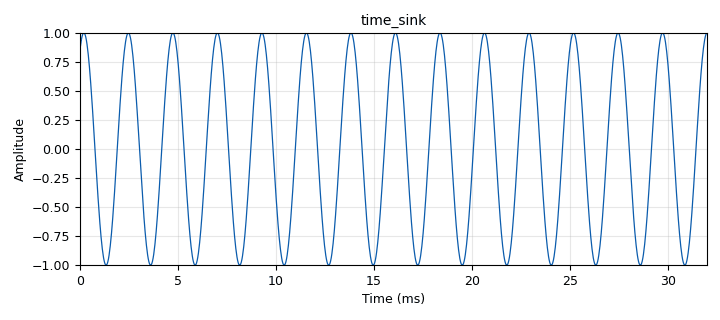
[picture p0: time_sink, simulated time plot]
<?xml version='1.0' encoding='utf-8'?>
<?grc format='1' created='3.7.11'?>
<flow_graph>
<block>
<key>options</key>
<param><key>id</key><value>synth</value></param>
<param><key>author</key><value>Robert Warner</value></param>
<param><key>description</key><value>Synth Project for Music Technology </value></param>
<param><key>generate_options</key><value>qt_gui</value></param>
</block>
<block>
<key>variable_qtgui_push_button</key>
<param><key>id</key><value>a_button</value></param>
<param><key>value</key><value>0</value></param>
<param><key>label</key><value>A</value></param>
<param><key>pressed</key><value>440.0000</value></param>
<param><key>released</key><value>0</value></param>
<param><key>type</key><value>real</value></param>
</block>
<block>
<key>variable_qtgui_push_button</key>
<param><key>id</key><value>b_button</value></param>
<param><key>value</key><value>0</value></param>
<param><key>label</key><value>B</value></param>
<param><key>pressed</key><value>493.8833</value></param>
<param><key>released</key><value>0</value></param>
<param><key>type</key><value>real</value></param>
</block>
<block>
<key>variable_qtgui_push_button</key>
<param><key>id</key><value>c1_button</value></param>
<param><key>value</key><value>0</value></param>
<param><key>label</key><value>C'</value></param>
<param><key>pressed</key><value>523.2511</value></param>
<param><key>released</key><value>0</value></param>
<param><key>type</key><value>real</value></param>
</block>
<block>
<key>variable_qtgui_push_button</key>
<param><key>id</key><value>c_button</value></param>
<param><key>value</key><value>0</value></param>
<param><key>label</key><value>C</value></param>
<param><key>pressed</key><value>261.6256</value></param>
<param><key>released</key><value>0</value></param>
<param><key>type</key><value>real</value></param>
</block>
<block>
<key>variable_qtgui_push_button</key>
<param><key>id</key><value>d_button</value></param>
<param><key>value</key><value>0</value></param>
<param><key>label</key><value>D</value></param>
<param><key>pressed</key><value>293.6648</value></param>
<param><key>released</key><value>0</value></param>
<param><key>type</key><value>real</value></param>
</block>
<block>
<key>variable_qtgui_push_button</key>
<param><key>id</key><value>e_button</value></param>
<param><key>value</key><value>0</value></param>
<param><key>label</key><value>E</value></param>
<param><key>pressed</key><value>329.6276</value></param>
<param><key>released</key><value>0</value></param>
<param><key>type</key><value>real</value></param>
</block>
<block>
<key>variable_qtgui_push_button</key>
<param><key>id</key><value>f_button</value></param>
<param><key>value</key><value>0</value></param>
<param><key>label</key><value>F</value></param>
<param><key>pressed</key><value>349.2282</value></param>
<param><key>released</key><value>0</value></param>
<param><key>type</key><value>real</value></param>
</block>
<block>
<key>variable_qtgui_push_button</key>
<param><key>id</key><value>g_button</value></param>
<param><key>value</key><value>0</value></param>
<param><key>label</key><value>G</value></param>
<param><key>pressed</key><value>391.9954</value></param>
<param><key>released</key><value>0</value></param>
<param><key>type</key><value>real</value></param>
</block>
<block>
<key>variable</key>
<param><key>id</key><value>samp_rate</value></param>
<param><key>value</key><value>32000</value></param>
</block>
<block>
<key>variable_qtgui_chooser</key>
<param><key>id</key><value>waveform_radio_buttons</value></param>
<param><key>value</key><value>0</value></param>
<param><key>label0</key><value>Sine Wave</value></param>
<param><key>label1</key><value>Triangle Wave</value></param>
<param><key>label2</key><value>Square Wave</value></param>
<param><key>num_opts</key><value>3</value></param>
<param><key>option0</key><value>0</value></param>
<param><key>option1</key><value>1</value></param>
<param><key>option2</key><value>2</value></param>
<param><key>type</key><value>int</value></param>
<param><key>widget</key><value>radio_buttons</value></param>
</block>
<block>
<key>audio_sink</key>
<param><key>id</key><value>audio_sink</value></param>
<param><key>samp_rate</key><value>samp_rate</value></param>
</block>
<block>
<key>analog_sig_source_x</key>
<param><key>id</key><value>signal_src</value></param>
<param><key>amp</key><value>1</value></param>
<param><key>freq</key><value>440</value></param>
<param><key>offset</key><value>0</value></param>
<param><key>type</key><value>float</value></param>
<param><key>samp_rate</key><value>samp_rate</value></param>
<param><key>waveform</key><value>analog.GR_COS_WAVE</value></param>
</block>
<block>
<key>qtgui_time_sink_x</key>
<param><key>id</key><value>time_sink</value></param>
<param><key>color1</key><value>"blue"</value></param>
<param><key>label1</key><value></value></param>
<param><key>size</key><value>1024</value></param>
<param><key>srate</key><value>samp_rate</value></param>
<param><key>type</key><value>float</value></param>
</block>
<connection><source_block_id>signal_src</source_block_id><sink_block_id>audio_sink</sink_block_id><source_key>0</source_key><sink_key>0</sink_key></connection>
<connection><source_block_id>signal_src</source_block_id><sink_block_id>time_sink</sink_block_id><source_key>0</source_key><sink_key>0</sink_key></connection>
</flow_graph>
